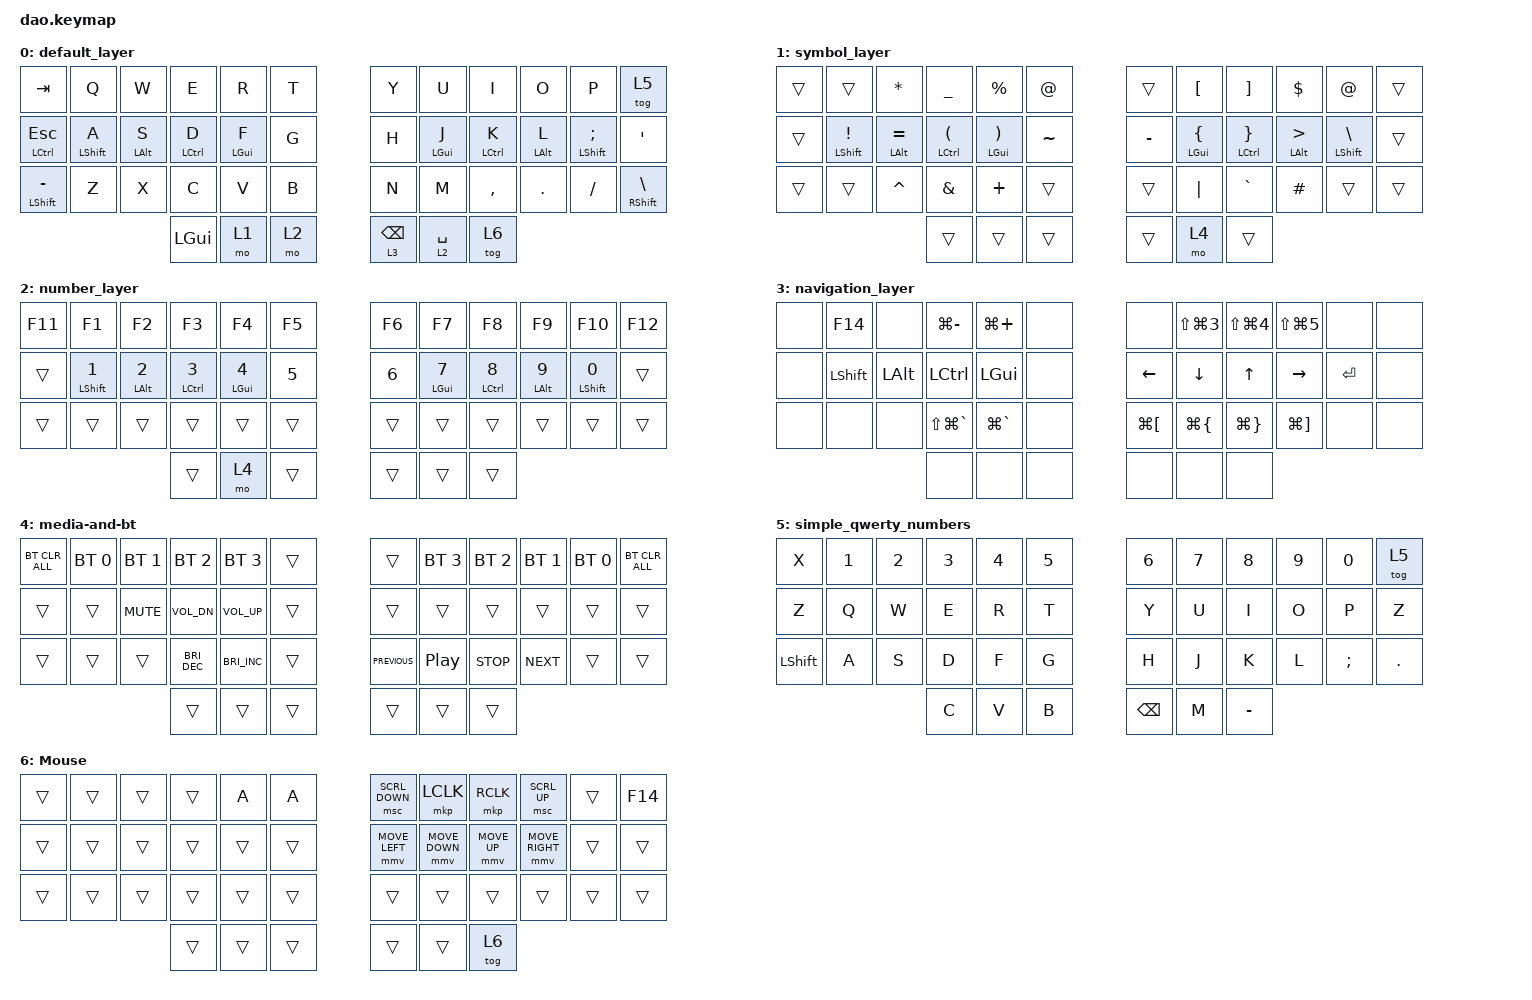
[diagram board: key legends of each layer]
#include <behaviors.dtsi>
#include <dt-bindings/zmk/bt.h>
#include <dt-bindings/zmk/keys.h>
#include <dt-bindings/zmk/pointing.h>

#define DEF 0
#define SYM 1
#define NUM 2
#define NAV 3
#define ADJ 4

&lt { quick_tap_ms = <200>; };

&mt { quick_tap_ms = <200>; };

/ {
    chosen { zmk,physical_layout = &dao_crkbd_layout; };
};

/ {
    behaviors {
        hmr: hmr {
            compatible = "zmk,behavior-hold-tap";
            label = "HMR";
            bindings = <&kp>, <&kp>;

            #binding-cells = <2>;
            tapping-term-ms = <200>;
            quick-tap-ms = <100>;
            flavor = "tap-preferred";
            hold-trigger-on-release;
            hold-trigger-key-positions = <0 1 2 3 4 5 12 13 14 15 16 17 24 25 26 27 28 29 36 37 38 39 40 41>;
            require-prior-idle-ms = <250>;
        };

        hml: hml {
            compatible = "zmk,behavior-hold-tap";
            label = "HML";
            bindings = <&kp>, <&kp>;

            #binding-cells = <2>;
            tapping-term-ms = <200>;
            quick-tap-ms = <100>;
            flavor = "tap-preferred";
            hold-trigger-on-release;
            hold-trigger-key-positions = <6 7 8 9 10 11 18 19 20 21 22 23 30 31 32 33 34 35 39 40 41 38 37 36>;
            require-prior-idle-ms = <250>;
        };
    };

    combos {
        compatible = "zmk,combos";

        escape {
            bindings = <&kp ESCAPE>;
            key-positions = <4 3>;
            timeout-ms = <10>;
        };

        tab_1 {
            bindings = <&kp TAB>;
            key-positions = <7 8>;
            timeout-ms = <30>;
        };

        bspace {
            bindings = <&kp BACKSPACE>;
            key-positions = <26 27>;
            timeout-ms = <15>;
        };

        del {
            bindings = <&kp DELETE>;
            key-positions = <31 32>;
        };
    };

    macros {
        arrow: arrow {
            compatible = "zmk,behavior-macro";
            #binding-cells = <0>;
            bindings = <&none &kp EQUAL &kp GT>;
            label = "ARROW";
        };
    };

    keymap {
        compatible = "zmk,keymap";

        default_layer {
            bindings = <
&kp TAB           &kp Q              &kp W            &kp E         &kp R            &kp T  &kp Y       &kp U            &kp I         &kp O            &kp P                 &tog 5
&mt LCTRL ESCAPE  &hml LEFT_SHIFT A  &hml LEFT_ALT S  &hml LCTRL D  &hml LEFT_GUI F  &kp G  &kp H       &hmr LEFT_GUI J  &hmr LCTRL K  &hmr LEFT_ALT L  &hmr LEFT_SHIFT SEMI  &kp SQT
&mt LSHFT MINUS   &kp Z              &kp X            &kp C         &kp V            &kp B  &kp N       &kp M            &kp COMMA     &kp DOT          &kp FSLH              &mt RSHFT BSLH
                                                      &kp LGUI      &mo 1            &mo 2  &lt 3 BSPC  &lt 2 SPACE      &tog 6
            >;
        };

        symbol_layer {
            bindings = <
&trans  &trans                &kp ASTRK            &kp UNDER                    &kp PERCENT                  &kp AT     &trans     &kp LBKT              &kp RBKT                &kp DOLLAR                  &kp AT                     &trans
&trans  &hml LEFT_SHIFT EXCL  &hml LEFT_ALT EQUAL  &hml LCTRL LEFT_PARENTHESIS  &hml LGUI RIGHT_PARENTHESIS  &kp TILDE  &kp MINUS  &hmr LGUI LEFT_BRACE  &hmr LCTRL RIGHT_BRACE  &hmr LEFT_ALT GREATER_THAN  &hmr LEFT_SHIFT BACKSLASH  &trans
&trans  &trans                &kp CARET            &kp AMPERSAND                &kp PLUS                     &trans     &trans     &kp PIPE              &kp GRAVE               &kp HASH                    &trans                     &trans
                                                   &trans                       &trans                       &trans     &trans     &mo 4                 &trans
            >;
        };

        number_layer {
            bindings = <
&kp F11  &kp F1              &kp F2            &kp F3         &kp F4        &kp F5  &kp F6  &kp F7        &kp F8         &kp F9            &kp F10             &kp F12
&trans   &hml LEFT_SHIFT N1  &hml LEFT_ALT N2  &hml LCTRL N3  &hml LGUI N4  &kp N5  &kp N6  &hmr LGUI N7  &hmr LCTRL N8  &hmr LEFT_ALT N9  &hmr LEFT_SHIFT N0  &trans
&trans   &trans              &trans            &trans         &trans        &trans  &trans  &trans        &trans         &trans            &trans              &trans
                                               &trans         &mo 4         &trans  &trans  &trans        &trans
            >;
        };

        navigation_layer {
            bindings = <
&none  &kp F14    &none     &kp LG(MINUS)      &kp LG(PLUS)   &none  &none                 &kp LS(LG(NUMBER_3))  &kp LS(LG(NUMBER_4))  &kp LS(LG(NUMBER_5))   &none    &none
&none  &kp LSHFT  &kp LALT  &kp LCTRL          &kp LGUI       &none  &kp LEFT              &kp DOWN              &kp UP                &kp RIGHT              &kp RET  &none
&none  &none      &none     &kp LS(LG(GRAVE))  &kp LG(GRAVE)  &none  &kp LG(LEFT_BRACKET)  &kp LG(LEFT_BRACE)    &kp LG(RIGHT_BRACE)   &kp LG(RIGHT_BRACKET)  &none    &none
                            &none              &none          &none  &none                 &none                 &none
            >;
        };

        media-and-bt {
            bindings = <
&bt BT_CLR_ALL  &bt BT_SEL 0  &bt BT_SEL 1  &bt BT_SEL 2          &bt BT_SEL 3          &trans  &trans          &bt BT_SEL 3      &bt BT_SEL 2  &bt BT_SEL 1  &bt BT_SEL 0  &bt BT_CLR_ALL
&trans          &trans        &kp K_MUTE    &kp C_VOL_DN          &kp C_VOLUME_UP       &trans  &trans          &trans            &trans        &trans        &trans        &trans
&trans          &trans        &trans        &kp C_BRIGHTNESS_DEC  &kp C_BRIGHTNESS_INC  &trans  &kp C_PREVIOUS  &kp C_PLAY_PAUSE  &kp C_STOP    &kp C_NEXT    &trans        &trans
                                            &trans                &trans                &trans  &trans          &trans            &trans
            >;
        };

        simple_qwerty_numbers {
            bindings = <
&kp X           &kp N1  &kp N2  &kp N3  &kp N4  &kp N5  &kp N6         &kp N7  &kp N8     &kp N9  &kp N0    &tog 5
&kp Z           &kp Q   &kp W   &kp E   &kp R   &kp T   &kp Y          &kp U   &kp I      &kp O   &kp P     &kp Z
&kp LEFT_SHIFT  &kp A   &kp S   &kp D   &kp F   &kp G   &kp H          &kp J   &kp K      &kp L   &kp SEMI  &kp PERIOD
                                &kp C   &kp V   &kp B   &kp BACKSPACE  &kp M   &kp MINUS
            >;
        };

        Mouse {
            bindings = <
&trans  &trans  &trans  &trans  &kp A   &kp A   &msc SCRL_DOWN  &mkp LCLK       &mkp RCLK     &msc SCRL_UP     &trans  &kp F14
&trans  &trans  &trans  &trans  &trans  &trans  &mmv MOVE_LEFT  &mmv MOVE_DOWN  &mmv MOVE_UP  &mmv MOVE_RIGHT  &trans  &trans
&trans  &trans  &trans  &trans  &trans  &trans  &trans          &trans          &trans        &trans           &trans  &trans
                        &trans  &trans  &trans  &trans          &trans          &tog 6
            >;
        };
    };
};
